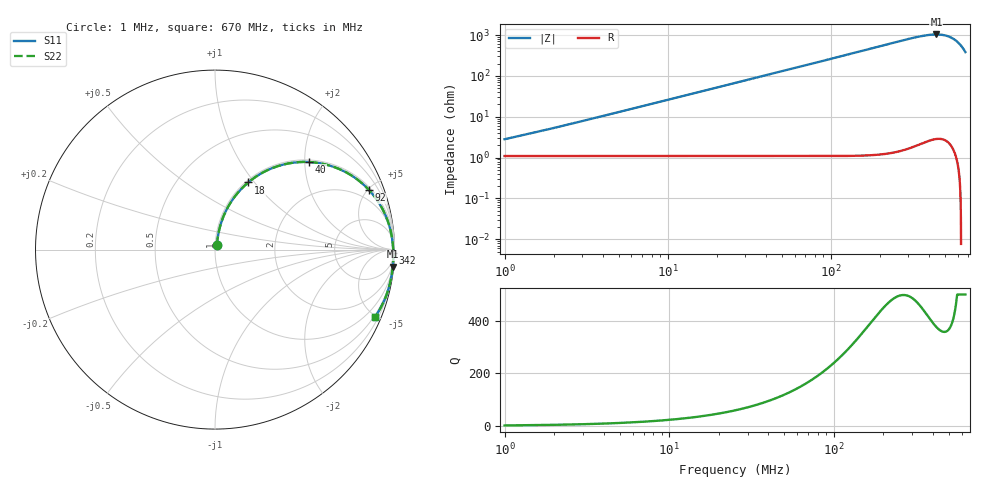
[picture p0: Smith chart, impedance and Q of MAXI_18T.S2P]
! Coilcraft 132-18SM_ Maxi Spring Air Core Inductor
! 28 May 2003
# MHZ S MA R 50
!Freq  MagS11  AngS11  MagS21  AngS21  MagS12  AngS12  MagS22  AngS22
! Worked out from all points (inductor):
!   670 points, 1 MHz to 670 MHz, reference 50 ohm
!   read as one part in series: L = 413 nH near 4 MHz
!   highest |Z| = 1.04 kohm at 445 MHz (marker M1)
!   S11 on the Smith chart (normalised r, x): 1 MHz: 1.02, +0.05; 18 MHz: 1.03, +0.93; 40 MHz: 1.05, +2.09; 92 MHz: 1.18, +5.13; 342 MHz: open; 670 MHz: 0.42, -4.89
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1  0.02767 65.6  0.9889 -1.5  0.9889 -1.5  0.02767 65.6
3  0.07699 77.5  0.9863 -4.4  0.9863 -4.4  0.07701 77.5
5  0.1269 77.8  0.9813 -7.4  0.9813 -7.4  0.1269 77.8
8  0.2001 75.3  0.9693 -11.7  0.9693 -11.7  0.2001 75.3
12  0.2927 70.8  0.9459 -17.2  0.9459 -17.2  0.2927 70.8
18  0.4172 63.7  0.8991 -25.0  0.8991 -25.0  0.4173 63.7
28  0.5812 53.1  0.805 -36.0  0.805 -36.0  0.5813 53.1
40  0.7144 43.1  0.6922 -46.3  0.6922 -46.3  0.7146 43.1
51  0.7932 36.1  0.6022 -53.4  0.6022 -53.4  0.7935 36.1
63  0.8496 30.3  0.5215 -59.3  0.5215 -59.3  0.8499 30.3
92  0.9208 21.0  0.3855 -68.7  0.3855 -68.7  0.9211 21.0
113  0.9457 16.7  0.3212 -73.1  0.3212 -73.1  0.9459 16.7
164  0.9735 10.0  0.2254 -79.9  0.2254 -79.9  0.9738 10.0
224  0.9858 5.2  0.165 -84.7  0.165 -84.7  0.986 5.2
336  0.9933 -0.7  0.1115 -90.6  0.1115 -90.6  0.9936 -0.7
342  0.9935 -1.0  0.1098 -90.8  0.1098 -90.8  0.9937 -1.0
445  0.9948 -5.5  0.09595 -95.3  0.09595 -95.3  0.995 -5.5
447  0.9948 -5.6  0.09594 -95.4  0.09594 -95.4  0.995 -5.6
505  0.9941 -8.4  0.1012 -98.2  0.1012 -98.2  0.9944 -8.4
559  0.992 -11.5  0.1184 -101.3  0.1184 -101.3  0.9923 -11.5
615  0.9861 -15.9  0.1584 -105.8  0.1584 -105.8  0.9864 -15.9
670  0.9672 -22.9  0.2463 -113.0  0.2463 -113.0  0.9674 -22.9
